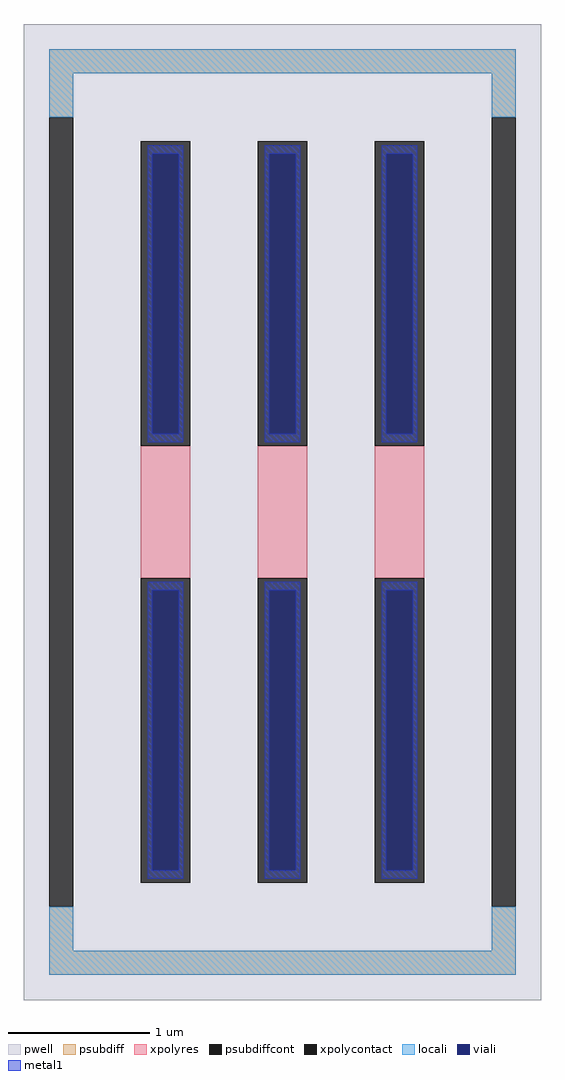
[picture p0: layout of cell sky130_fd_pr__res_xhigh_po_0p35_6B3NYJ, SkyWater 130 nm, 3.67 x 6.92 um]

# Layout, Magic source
magic
tech sky130A
magscale 1 2
<< pwell >>
rect -367 -692 367 692
<< psubdiff >>
rect -331 622 331 656
rect -331 560 -297 622
rect 297 560 331 622
rect -331 -622 -297 -560
rect 297 -622 331 -560
rect -331 -656 331 -622
<< psubdiffcont >>
rect -331 -560 -297 560
rect 297 -560 331 560
<< xpolycontact >>
rect -201 94 -131 526
rect -201 -526 -131 -94
rect -35 94 35 526
rect -35 -526 35 -94
rect 131 94 201 526
rect 131 -526 201 -94
<< xpolyres >>
rect -201 -94 -131 94
rect -35 -94 35 94
rect 131 -94 201 94
<< locali >>
rect -331 622 331 656
rect -331 560 -297 622
rect 297 560 331 622
rect -331 -622 -297 -560
rect 297 -622 331 -560
rect -331 -656 331 -622
<< viali >>
rect -185 111 -147 508
rect -19 111 19 508
rect 147 111 185 508
rect -185 -508 -147 -111
rect -19 -508 19 -111
rect 147 -508 185 -111
<< metal1 >>
rect -191 508 -141 520
rect -191 111 -185 508
rect -147 111 -141 508
rect -191 99 -141 111
rect -25 508 25 520
rect -25 111 -19 508
rect 19 111 25 508
rect -25 99 25 111
rect 141 508 191 520
rect 141 111 147 508
rect 185 111 191 508
rect 141 99 191 111
rect -191 -111 -141 -99
rect -191 -508 -185 -111
rect -147 -508 -141 -111
rect -191 -520 -141 -508
rect -25 -111 25 -99
rect -25 -508 -19 -111
rect 19 -508 25 -111
rect -25 -520 25 -508
rect 141 -111 191 -99
rect 141 -508 147 -111
rect 185 -508 191 -111
rect 141 -520 191 -508
<< properties >>
string FIXED_BBOX -314 -639 314 639
string gencell sky130_fd_pr__res_xhigh_po_0p35
string library sky130
string parameters w 0.350 l 1.1 m 1 nx 3 wmin 0.350 lmin 0.50 rho 2000 val 7.361k dummy 0 dw 0.0 term 188.2 sterm 0.0 caplen 0 wmax 0.350 guard 1 glc 1 grc 1 gtc 0 gbc 0 compatible {sky130_fd_pr__res_xhigh_po_0p35  sky130_fd_pr__res_xhigh_po_0p69 sky130_fd_pr__res_xhigh_po_1p41  sky130_fd_pr__res_xhigh_po_2p85 sky130_fd_pr__res_xhigh_po_5p73} snake 0 full_metal 1 n_guard 0 hv_guard 0 vias 1 viagb 0 viagt 0 viagl 0 viagr 0
<< end >>
